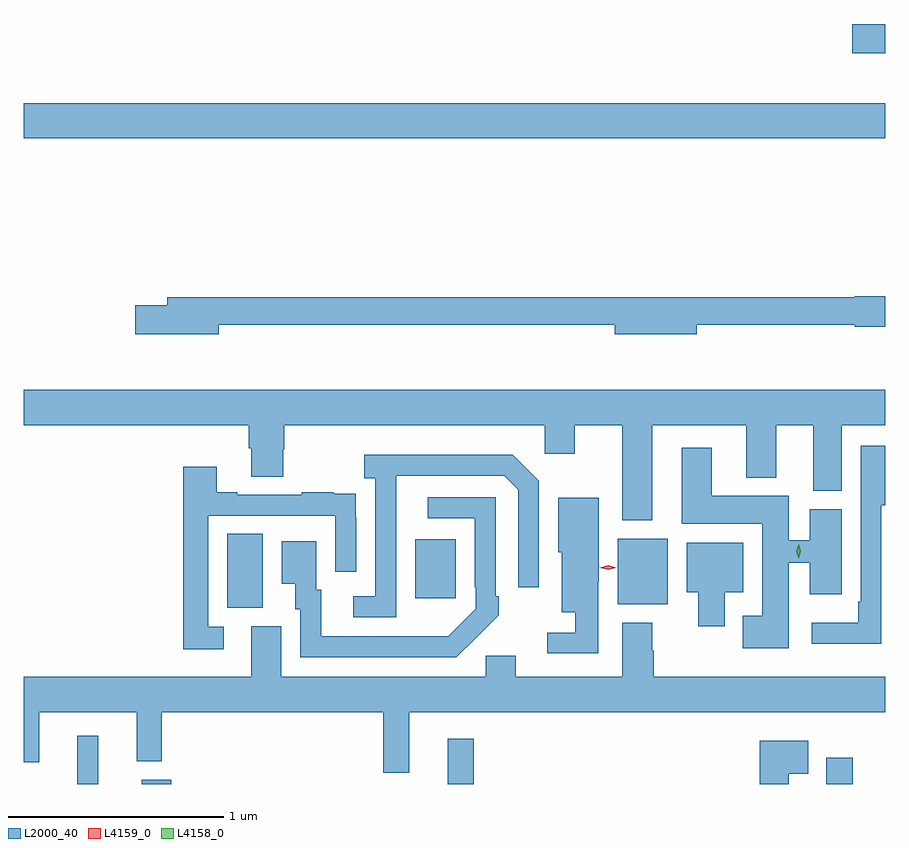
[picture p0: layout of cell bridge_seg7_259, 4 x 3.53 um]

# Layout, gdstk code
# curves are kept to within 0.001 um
import gdstk
lib = gdstk.Library(unit=1e-6, precision=1e-09)
def R(c, l, rs):  # rectangles x0, y0, x1, y1
    for r in rs: c.add(gdstk.rectangle(r[:2], r[2:], *l))
def P(c, l, *ps):  # polygons
    for p in ps: c.add(gdstk.Polygon(p, *l))
L2000_40 = (2000, 40)
L4158_0 = (4158, 0)
L4159_0 = (4159, 0)

bridge_seg7_259 = lib.new_cell('bridge_seg7_259')
R(bridge_seg7_259, L2000_40, [(165.734,1032.251,165.831,1032.475), (166.034,1032.251,166.169,1032.271), (167.453,1032.251,167.575,1032.46), (169.211,1032.251,169.333,1032.373), (166.43,1033.069,166.594,1033.412), (168.242,1033.085,168.475,1033.39), (167.303,1033.113,167.491,1033.387), (165.485,1035.248,169.485,1035.412), (169.332,1035.644,169.485,1035.779)])
P(bridge_seg7_259, L2000_40, [(166.39,1034.382),(168.23,1034.382),(168.23,1034.339),(168.61,1034.339),(168.61,1034.382),(169.344,1034.382),(169.344,1034.374),(169.485,1034.374),(169.485,1034.516),(169.344,1034.516),(169.344,1034.51),(166.151,1034.51),(166.151,1034.474),(166.002,1034.474),(166.002,1034.339),(166.39,1034.339)],
  [(168.403,1033.916),(168.839,1033.916),(168.839,1033.673),(168.979,1033.673),(168.979,1033.916),(169.151,1033.916),(169.151,1033.612),(169.282,1033.612),(169.282,1033.916),(169.485,1033.916),(169.485,1034.08),(165.485,1034.08),(165.485,1033.916),(166.529,1033.916),(166.529,1033.81),(166.541,1033.81),(166.541,1033.678),(166.689,1033.678),(166.689,1033.803),(166.694,1033.803),(166.694,1033.916),(167.904,1033.916),(167.904,1033.785),(168.043,1033.785),(168.043,1033.916),(168.263,1033.916),(168.263,1033.475),(168.403,1033.475)],
  [(169.467,1033.545),(169.485,1033.545),(169.485,1033.822),(169.371,1033.822),(169.371,1033.096),(169.359,1033.096),(169.359,1033),(169.143,1033),(169.143,1032.902),(169.467,1032.902)],
  [(169.036,1033.279),(169.133,1033.279),(169.133,1033.131),(169.282,1033.131),(169.282,1033.527),(169.133,1033.527),(169.133,1033.382),(169.036,1033.382),(169.036,1033.588),(168.679,1033.588),(168.679,1033.813),(168.539,1033.813),(168.539,1033.46),(168.914,1033.46),(168.914,1033.033),(168.824,1033.033),(168.824,1032.881),(169.036,1032.881)],
  [(167.214,1033.483),(167.215,1033.683),(167.715,1033.683),(167.781,1033.617),(167.781,1033.164),(167.877,1033.164),(167.877,1033.659),(167.756,1033.78),(167.067,1033.78),(167.067,1033.67),(167.118,1033.67),(167.118,1033.122),(167.016,1033.122),(167.016,1033.026),(167.214,1033.026)],
  [(166.414,1032.981),(166.341,1032.981),(166.341,1033.497),(166.932,1033.497),(166.932,1033.236),(167.028,1033.236),(167.028,1033.49),(167.027,1033.49),(167.027,1033.599),(166.925,1033.599),(166.925,1033.606),(166.777,1033.606),(166.777,1033.593),(166.477,1033.593),(166.477,1033.606),(166.381,1033.606),(166.381,1033.723),(166.225,1033.723),(166.225,1032.876),(166.414,1032.876)],
  [(167.585,1032.931),(167.586,1032.93),(167.691,1033.035),(167.691,1033.123),(167.676,1033.123),(167.676,1033.581),(167.361,1033.581),(167.361,1033.485),(167.58,1033.485),(167.58,1033.165),(167.583,1033.165),(167.583,1033.065),(167.455,1032.937),(166.867,1032.936),(166.867,1033.152),(166.843,1033.152),(166.843,1033.378),(166.682,1033.378),(166.682,1033.181),(166.745,1033.181),(166.745,1033.062),(166.77,1033.062),(166.77,1032.84),(167.494,1032.84)],
  [(168.153,1033.189),(168.154,1033.189),(168.154,1033.579),(167.966,1033.579),(167.966,1033.326),(167.984,1033.326),(167.984,1033.049),(168.045,1033.049),(168.045,1032.954),(167.916,1032.954),(167.916,1032.858),(168.153,1032.858)],
  [(168.739,1033.142),(168.826,1033.142),(168.826,1033.372),(168.563,1033.372),(168.563,1033.142),(168.617,1033.142),(168.617,1032.984),(168.739,1032.984)],
  [(167.275,1032.584),(169.485,1032.584),(169.485,1032.748),(168.411,1032.748),(168.411,1032.869),(168.403,1032.869),(168.403,1033),(168.263,1033),(168.263,1032.748),(167.77,1032.748),(167.77,1032.846),(167.631,1032.846),(167.631,1032.748),(166.681,1032.748),(166.681,1032.984),(166.541,1032.984),(166.541,1032.748),(165.485,1032.748),(165.485,1032.351),(165.557,1032.351),(165.557,1032.584),(166.01,1032.584),(166.01,1032.356),(166.127,1032.356),(166.127,1032.584),(167.154,1032.584),(167.154,1032.303),(167.275,1032.303)],
  [(169.036,1032.299),(169.126,1032.299),(169.126,1032.451),(168.902,1032.451),(168.902,1032.251),(169.036,1032.251)])
P(bridge_seg7_259, L4158_0, [(169.082,1033.299),(169.082,1033.299),(169.072,1033.331),(169.082,1033.363),(169.082,1033.363),(169.082,1033.363),(169.092,1033.331),(169.082,1033.299)])
P(bridge_seg7_259, L4159_0, [(168.198,1033.246),(168.159,1033.256),(168.159,1033.256),(168.159,1033.256),(168.198,1033.266),(168.236,1033.256),(168.236,1033.256),(168.236,1033.256)])

lib.write_gds('bridge_seg7_259.gds')
